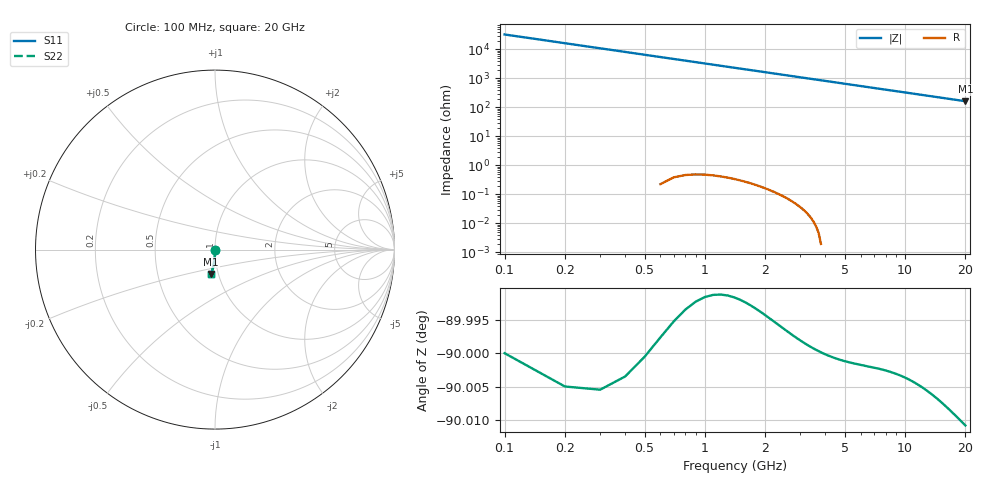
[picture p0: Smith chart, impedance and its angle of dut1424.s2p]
! Touchstone file exported from HFSS 2026.1.0
!  File:  C:/ffzhzh/LocalFiles/Ansys_Project_Files/temp_train_TSV_1424_1783197348_18472.aedt
!  Generated:  04:37:06 AM Jul  5, 2026
!  Design:  TSV
!  Project:  temp_train_TSV_1424_1783197348_18472
! Variables:
!  h_bsmrdl = 2um
!  h_ox = 20um
!  h_rdl = 5um
!  h_sub = 57um
!  h_tmrdl = 5um
!  h_tsv = 57um
!  h_via = 3um
!  l_bsmrdl = 300um
!  l_sub = 419.06um
!  l_tmrdl = 200um
!  m_sub = 200um
!  pitch = 20.43um
!  r_tsv = 9.53um
!  s_tmrdl = 10um
!  w_bsmrdl = 18um
!  w_sub = 500um
!  w_tmrdl = 12um
!  x_tsv_center1 = 206um
!  x_tsv_center2 = 524um
!  x_tsv_center3 = 736um
!  x_tsv_center4 = 1054um
!  x_tsv_center5 = 1266um
!  x_tsv_center6 = 1584um
# GHz S MA R 50.000000
! Terminal data exported
! Port[1] = TSV1_1_T1
! Port[2] = TSV1_1_T2
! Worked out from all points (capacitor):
!   200 points, 100 MHz to 20 GHz, reference 50 ohm
!   read as one part in shunt: C = 48.8 fF near 200 MHz
!   lowest |Z| = 163 ohm at 20 GHz (marker M1)
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0.1  0.000638 -78.5  0.9999 -0.1  0.9999 -0.1  0.000638 -78.5
! Gamma 0 0 0 0
! Port Impedance 50 0 50 0
0.2  0.001267 -83.2  0.9998 -0.1  0.9998 -0.1  0.001267 -83.2
0.3  0.001913 -84.5  0.9998 -0.2  0.9998 -0.2  0.001913 -84.5
0.4  0.002572 -85.2  0.9998 -0.2  0.9998 -0.2  0.002572 -85.2
0.5  0.003241 -85.6  0.9997 -0.3  0.9997 -0.3  0.003241 -85.6
0.7  0.0046 -86.3  0.9997 -0.4  0.9997 -0.4  0.0046 -86.3
0.8  0.005284 -86.6  0.9996 -0.4  0.9996 -0.4  0.005284 -86.6
1  0.006656 -87.1  0.9996 -0.5  0.9996 -0.5  0.006656 -87.1
1.2  0.00803 -87.6  0.9995 -0.6  0.9995 -0.6  0.00803 -87.6
1.4  0.009403 -88.0  0.9995 -0.7  0.9995 -0.7  0.009403 -88.0
1.7  0.01146 -88.4  0.9994 -0.8  0.9994 -0.8  0.01146 -88.4
2  0.01352 -88.8  0.9994 -1.0  0.9994 -1.0  0.01352 -88.8
2.7  0.01832 -89.5  0.9992 -1.3  0.9992 -1.3  0.01832 -89.5
3.5  0.02382 -90.1  0.999 -1.7  0.999 -1.7  0.02382 -90.1
4.2  0.02864 -90.5  0.9988 -2.0  0.9988 -2.0  0.02864 -90.5
5  0.03416 -91.0  0.9986 -2.4  0.9986 -2.4  0.03416 -91.0
6.8  0.0466 -92.1  0.9979 -3.3  0.9979 -3.3  0.0466 -92.1
8.3  0.05696 -92.9  0.9973 -4.0  0.9973 -4.0  0.05696 -92.9
10.1  0.06939 -93.8  0.9963 -4.9  0.9963 -4.9  0.06939 -93.8
13.4  0.09208 -95.5  0.9943 -6.4  0.9943 -6.4  0.09208 -95.5
16.7  0.1146 -97.2  0.9918 -8.0  0.9918 -8.0  0.1146 -97.2
20  0.137 -98.8  0.9887 -9.6  0.9887 -9.6  0.137 -98.8
